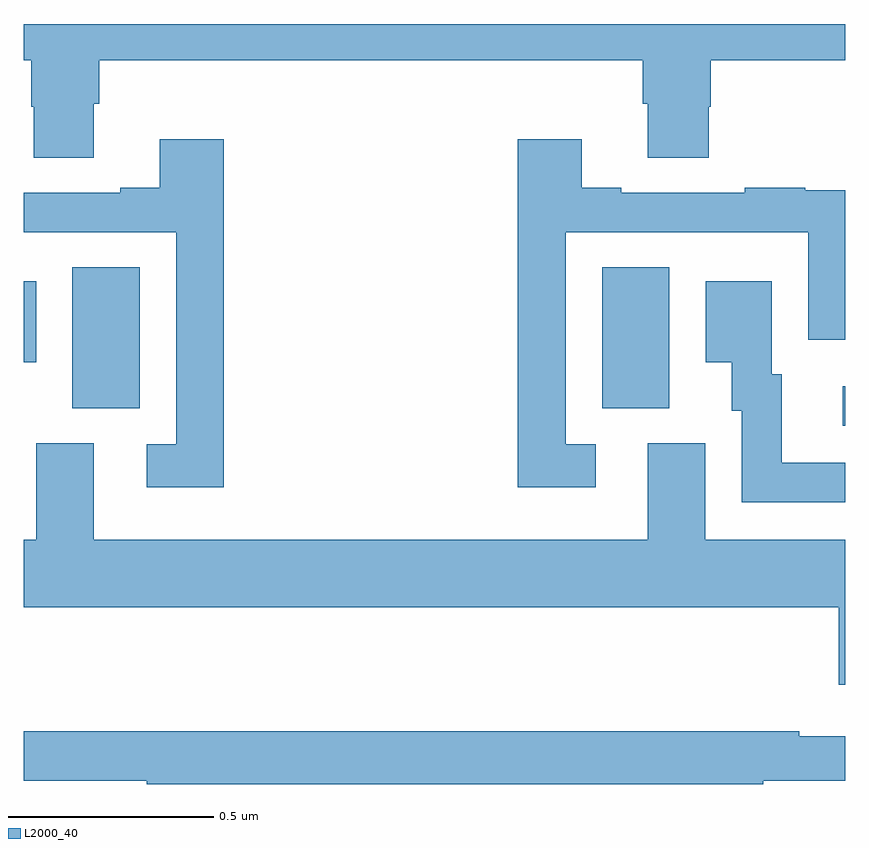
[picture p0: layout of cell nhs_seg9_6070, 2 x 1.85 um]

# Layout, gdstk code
import gdstk
lib = gdstk.Library(unit=1e-6, precision=1e-09)
def R(c, l, rs):  # rectangles x0, y0, x1, y1
    for r in rs: c.add(gdstk.rectangle(r[:2], r[2:], *l))
def P(c, l, *ps):  # polygons
    for p in ps: c.add(gdstk.Polygon(p, *l))
L2000_40 = (2000, 40)

nhs_seg9_6070 = lib.new_cell('nhs_seg9_6070')
R(nhs_seg9_6070, L2000_40, [(188.994,1203.522,189,1203.618), (187.118,1203.565,187.282,1203.908), (188.408,1203.565,188.572,1203.908), (187,1203.677,187.03,1203.874)])
P(nhs_seg9_6070, L2000_40, [(187.171,1204.306),(187.184,1204.306),(187.184,1204.412),(188.507,1204.412),(188.507,1204.306),(188.519,1204.306),(188.519,1204.174),(188.667,1204.174),(188.667,1204.299),(188.672,1204.299),(188.672,1204.412),(189,1204.412),(189,1204.5),(187,1204.5),(187,1204.412),(187.019,1204.412),(187.019,1204.299),(187.024,1204.299),(187.024,1204.174),(187.171,1204.174)],
  [(187.487,1204.219),(187.331,1204.219),(187.331,1204.102),(187.235,1204.102),(187.235,1204.089),(187,1204.089),(187,1203.993),(187.371,1203.993),(187.371,1203.477),(187.299,1203.477),(187.299,1203.372),(187.487,1203.372)],
  [(188.392,1203.477),(188.319,1203.477),(188.319,1203.993),(188.91,1203.993),(188.91,1203.732),(189,1203.732),(189,1204.095),(188.903,1204.095),(188.903,1204.102),(188.755,1204.102),(188.755,1204.089),(188.455,1204.089),(188.455,1204.102),(188.359,1204.102),(188.359,1204.219),(188.203,1204.219),(188.203,1203.372),(188.392,1203.372)],
  [(189,1203.432),(188.845,1203.432),(188.845,1203.648),(188.821,1203.648),(188.821,1203.874),(188.66,1203.874),(188.66,1203.677),(188.723,1203.677),(188.723,1203.558),(188.748,1203.558),(188.748,1203.336),(189,1203.336)],
  [(189,1203.244),(188.659,1203.244),(188.659,1203.48),(188.519,1203.48),(188.519,1203.244),(187.171,1203.244),(187.171,1203.48),(187.031,1203.48),(187.031,1203.244),(187,1203.244),(187,1203.08),(188.984,1203.08),(188.984,1202.892),(189,1202.892)],
  [(188.8,1202.658),(189,1202.658),(189,1202.766),(188.888,1202.766),(188.888,1202.779),(187,1202.779),(187,1202.658),(187.3,1202.658),(187.3,1202.65),(188.8,1202.65)])

lib.write_gds('nhs_seg9_6070.gds')
